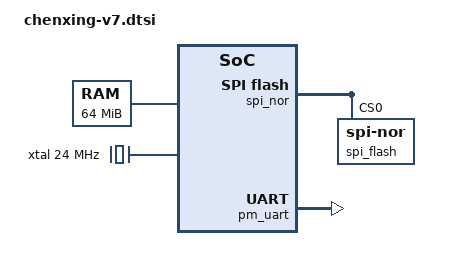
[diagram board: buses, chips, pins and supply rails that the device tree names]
// SPDX-License-Identifier: GPL-2.0
/*
 * Copyright (c) 2019 thingy.jp.
 * Author: Daniel Palmer <daniel@0x0f.com>
 */
 
#include <dt-bindings/clock/mstar.h>

/ {
	#address-cells = <1>;
	#size-cells = <1>;
	
	memory@20000000 {
		device_type = "memory";
		reg = <0x20000000 0x4000000>;
	};

	aliases: aliases {
		spi0 = &spi_nor;
		serial0 = &pm_uart;
	};

	chosen {
		stdout-path = "serial0:115200n8";
	};

	cpus {
		#address-cells = <1>;
		#size-cells = <0>;

		cpu@0 {
			device_type = "cpu";
			compatible = "arm,cortex-a7";
			reg = <0x0>;
		};
	};

	arch_timer {
		compatible = "arm,armv7-timer";
	};

	clocks: clocks {
		u-boot,dm-spl;
		u-boot,dm-preloc;
		xtal: xtal {
			u-boot,dm-spl;
			u-boot,dm-preloc;
			#clock-cells = <0>;
			compatible = "fixed-clock";
			clock-frequency = <24000000>;
		};

		xtal_div2: xtal_div2 {
			u-boot,dm-spl;
			u-boot,dm-preloc;
			#clock-cells = <0>;
			compatible = "fixed-factor-clock";
			clocks = <&xtal>;
			clock-div = <2>;
			clock-mult = <1>;
		};

		clk_mpll_86_div2: clk_mpll_86_div2 {
			compatible = "fixed-factor-clock";
			u-boot,dm-spl;
			u-boot,dm-preloc;
			#clock-cells = <0>;
			clocks = <&mpll MSTAR_MPLL_86>;
			clock-div = <2>;
			clock-mult = <1>;
		};

		clk_mpll_288_div2: clk_mpll_288_div2 {
			compatible = "fixed-factor-clock";
			u-boot,dm-spl;
			u-boot,dm-preloc;
			#clock-cells = <0>;
			clocks = <&mpll MSTAR_MPLL_288>;
			clock-div = <2>;
			clock-mult = <1>;
		};
	};

	soc: soc {
		compatible = "simple-bus";
		#address-cells = <1>;
		#size-cells = <1>;
		ranges;
		u-boot,dm-pre-reloc;

		spi_nor: spi_nor@1f001000 {
			compatible = "mstar,msc313-spinor";
			#address-cells = <1>;
			#size-cells = <0>;
			u-boot,dm-spl;
			reg-names = "reg_base", "mem_base";
			reg = <0x1f001000 0x400>, <0x14000000 0x2000000>;
			spi-half-duplex;
			spi_flash@0{
				compatible = "jedec,spi-nor";
				u-boot,dm-spl;
				reg = <0>;
			};
		};

		riu: bus@1f000000 {
			compatible = "simple-bus";
			#address-cells = <1>;
			#size-cells = <1>;
			ranges = <0x0 0x1f000000 0x00400000>;
			u-boot,dm-spl;
			u-boot,dm-preloc;

			pmsleep: syscon@1c00 {
				compatible = "mstar,msc313-pmsleep", "syscon";
				u-boot,dm-spl;
				u-boot,dm-preloc;
				reg = <0x1c00 0x100>;
			};

			miu: miu@202200 {
				compatible = "mstar,msc313-miu";
				u-boot,dm-spl;
				u-boot,dm-preloc;
				reg = <0x202000 100>,
				      <0x202400 100>;
				clock-names = "miupll";
				clocks = <&miupll>;
			};

			l3bridge: l3bridge@204400 {
				compatible = "mstar,l3bridge", "syscon";
				u-boot,dm-spl;
				u-boot,dm-preloc;
				reg = <0x204400 0x200>;
			};

			mpll: mpll@206000 {
				compatible = "mstar,mpll";
				u-boot,dm-spl;
				u-boot,dm-preloc;
				#clock-cells = <1>;
				reg = <0x206000 0x200>;
				clocks = <&xtal>;
				mstar,pmsleep = <&pmsleep>;
			};

			miupll: miupll@206200 {
				compatible = "mstar,miupll";
				u-boot,dm-spl;
				u-boot,dm-preloc;
				reg = <0x206200 0x200>;
				#clock-cells = <0>;
				clocks = <&xtal>;
			};

			cpupll: cpupll@206400 {
				compatible = "mstar,cpupll";
				u-boot,dm-spl;
				u-boot,dm-preloc;
				reg = <0x206400 0x200>;
				#clock-cells = <0>;
				clocks = <&mpll MSTAR_MPLL_432>;
				mstar,l3bridge = <&l3bridge>;
			};

			clkgen_mux_uart: clkgen_mux@2070c4 {
				compatible = "mstar,clkgen_mux";
				u-boot,dm-spl;
				u-boot,dm-preloc;
				reg = <0x2070c4 0x4>;
				#clock-cells = <1>;
				clock-output-names = "uart0", "uart1";
				shifts = <0>, <8>;
				mux-shifts = <2>, <10>;
				mux-widths = <2>, <2>;
				clocks = <&mpll MSTAR_MPLL_172>,
					 <&clk_mpll_288_div2>,
					 <&xtal_div2>;
			};

			pm_uart: uart@221000 {
				compatible = "snps,dw-apb-uart";
				u-boot,dm-spl;
				u-boot,dm-preloc;
				reg = <0x221000 0x200>;
				reg-shift = <3>;
				clocks = <&clkgen_mux_uart 0>;
				assigned-clocks = <&clkgen_mux_uart 0>;
				assigned-clock-parents = <&mpll MSTAR_MPLL_172>;
				/*clock-frequency = <12000000>;*/
			};
		};
	};
};
